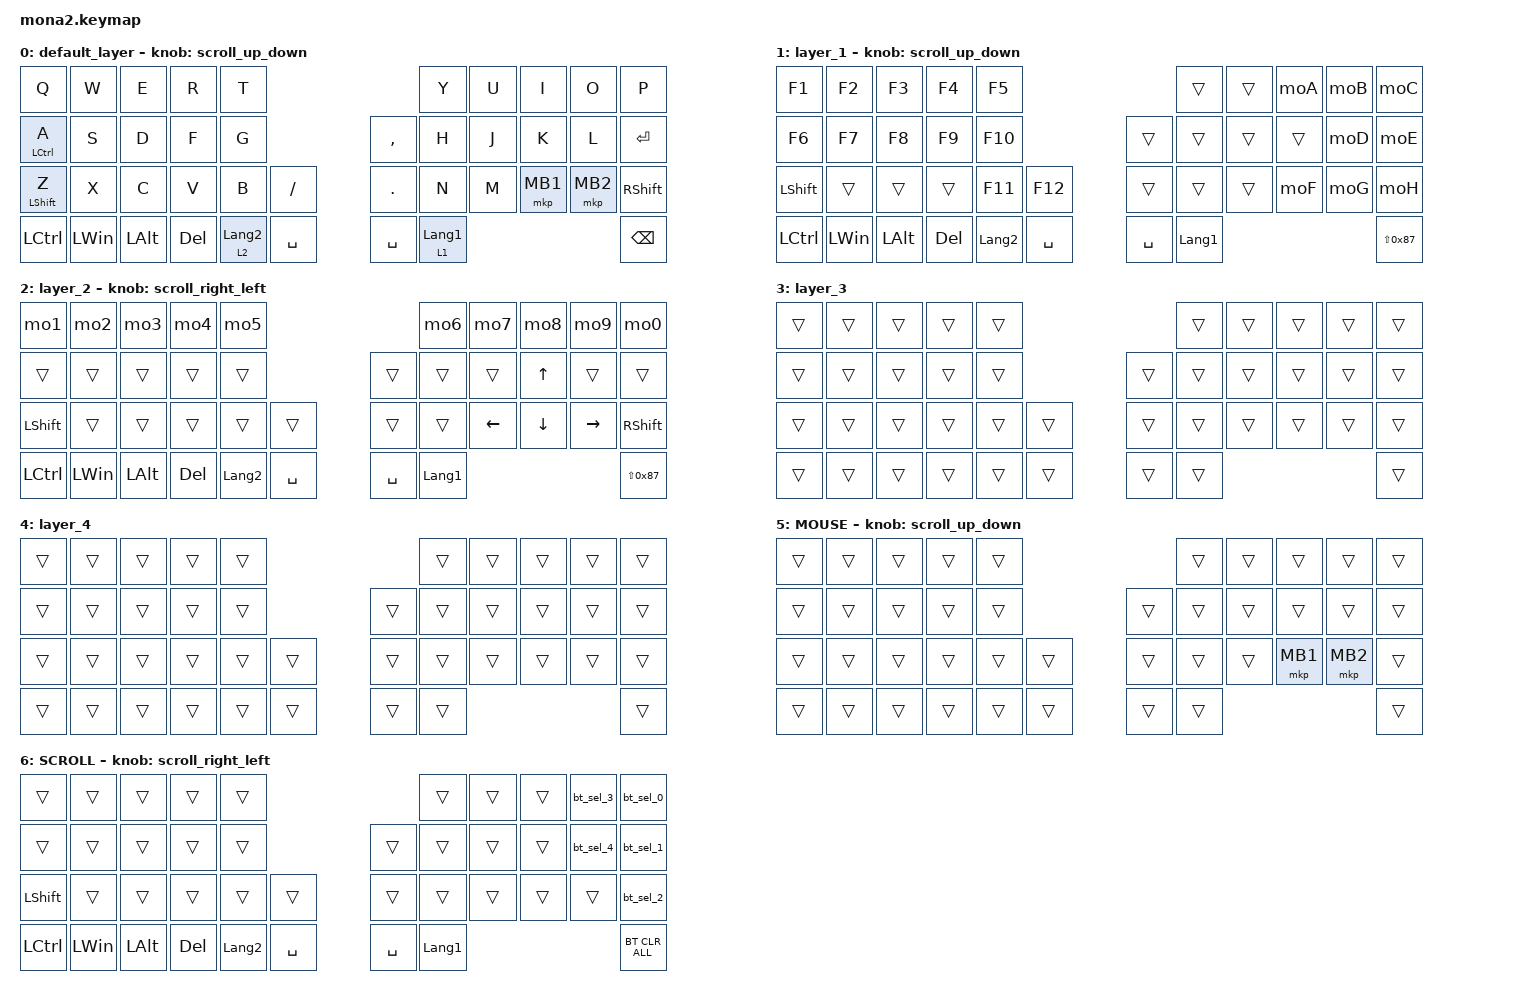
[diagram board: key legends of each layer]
#include <input/processors.dtsi>
#include <dt-bindings/zmk/input_transform.h>
#include <zephyr/dt-bindings/input/input-event-codes.h>
#include <behaviors.dtsi>
#include <dt-bindings/zmk/bt.h>
#include <dt-bindings/zmk/keys.h>
#include <dt-bindings/zmk/pointing.h>

#define ZMK_POINTING_DEFAULT_SCRL_VAL 100
#define MOUSE 5
#define SCROLL 6
#define JP_DQUOTE       AT                // "
#define JP_AMPERSAND    CARET             // &
#define JP_QUOTE        AMPERSAND         // '
#define JP_EQUAL        UNDER             // =
#define JP_CARET        EQUAL             // ^
#define JP_YEN          0x89              // ¥
#define JP_PLUS         COLON             // +
#define JP_TILDE        PLUS              // ~
#define JP_PIPE         LS(0x89)          // |
#define JP_AT           LEFT_BRACKET      // @
#define JP_COLON        SINGLE_QUOTE      // :
#define JP_ASTERISK     DOUBLE_QUOTES     // *
#define JP_BACKQUOTE    LEFT_BRACE        // `
#define JP_UNDERSCORE   LS(0x87)          // _
#define JP_LBRACKET     RIGHT_BRACKET     // [
#define JP_RBRACKET     BACKSLASH         // ]
#define JP_LPAREN       ASTERISK          // (
#define JP_RPAREN       LEFT_PARENTHESIS  // )
#define JP_LBRACE       RIGHT_BRACE       // {
#define JP_RBRACE       PIPE              // }
#define JP_KANA         LANGUAGE_1        // かな
#define JP_EISU         LANGUAGE_2        // 英数
#define JP_HANZEN       GRAVE             // 半角/全角
#define JP_BSLH         INT1              // (backslash)

&mt {
    flavor = "balanced";
    quick-tap-ms = <175>;
};

&lt {
    quick-tap-ms = <300>;
    flavor = "balanced";
};

/ {
    combos {
        compatible = "zmk,combos";

        Escape {
            bindings = <&kp ESCAPE>;
            key-positions = <39 38>;
        };

        tab {
            bindings = <&kp TAB>;
            key-positions = <11 10>;
        };

        // 矢印キー

        Up {
            bindings = <&kp UP_ARROW>;
            key-positions = <18 19>;  // K+L
        };

        Down {
            bindings = <&kp DOWN_ARROW>;
            key-positions = <30 31>;  // MB1+MB2
        };

        Left {
            bindings = <&kp LEFT>;
            key-positions = <29 30>;  // M+MB1
        };

        Right {
            bindings = <&kp RIGHT>;
            key-positions = <31 32>;  // MB2+右Shift
        };

        // 数字キー（左手）

        Num1 {
            bindings = <&mo1>;
            key-positions = <0 1>;  // Q+W
        };

        Num2 {
            bindings = <&mo2>;
            key-positions = <1 2>;  // W+E
        };

        Num3 {
            bindings = <&mo3>;
            key-positions = <2 3>;  // E+R
        };

        Num4 {
            bindings = <&mo4>;
            key-positions = <3 4>;  // R+T
        };

        Num5 {
            bindings = <&mo5>;
            key-positions = <13 14>;  // F+G
        };

        // 数字キー（右手）

        Num6 {
            bindings = <&mo6>;
            key-positions = <5 6>;  // Y+U
        };

        Num7 {
            bindings = <&mo7>;
            key-positions = <6 7>;  // U+I
        };

        Num8 {
            bindings = <&mo8>;
            key-positions = <7 8>;  // I+O
        };

        Num9 {
            bindings = <&mo9>;
            key-positions = <8 9>;  // O+P
        };

        Num0 {
            bindings = <&mo0>;
            key-positions = <19 20>;  // L+Enter
        };

        Layer_6 {
            bindings = <&mo 6>;
            key-positions = <21 22>;  // Z+X
        };

        PrtScr {
            bindings = <&kp PRINTSCREEN>;
            key-positions = <0 9>;
        };

        combo_kakko_kagi {
            timeout-ms = <50>;
            key-positions = <7 18>;
            bindings = <&kakko_square>;
            layers = <0>;
        };

        combo_kakko_round {
            timeout-ms = <50>;
            key-positions = <8 19>;
            bindings = <&kakko_round>;
            layers = <0>;
        };

        combo_kakko_square {
            timeout-ms = <50>;
            key-positions = <16 28>;
            bindings = <&kakko_kagi>;
            layers = <0>;
        };

        combo_kakko_curly {
            timeout-ms = <50>;
            key-positions = <17 29>;
            bindings = <&kakko_curly>;
            layers = <0>;
        };
    };

    macros {
        to_layer_0: to_layer_0 {
            compatible = "zmk,behavior-macro-one-param";
            #binding-cells = <1>;
            bindings = <&to 0 &macro_param_1to1 &kp MACRO_PLACEHOLDER>;
            label = "TO_LAYER_0";
        };

        bt_sel_0: bt_sel_0 {
            compatible = "zmk,behavior-macro";
            #binding-cells = <0>;
            bindings = <&bt BT_SEL 0 &bt BT_DISC 1 &bt BT_DISC 2 &bt BT_DISC 3 &bt BT_DISC 4>;
            label = "BT_SEL_0";
        };

        bt_sel_1: bt_sel_1 {
            compatible = "zmk,behavior-macro";
            #binding-cells = <0>;
            bindings = <&bt BT_SEL 1 &bt BT_DISC 0 &bt BT_DISC 2 &bt BT_DISC 3 &bt BT_DISC 4>;
            label = "BT_SEL_1";
        };

        bt_sel_2: bt_sel_2 {
            compatible = "zmk,behavior-macro";
            #binding-cells = <0>;
            bindings = <&bt BT_SEL 2 &bt BT_DISC 0 &bt BT_DISC 1 &bt BT_DISC 3 &bt BT_DISC 4>;
            label = "BT_SEL_2";
        };

        bt_sel_3: bt_sel_3 {
            compatible = "zmk,behavior-macro";
            #binding-cells = <0>;
            bindings = <&bt BT_SEL 3 &bt BT_DISC 0 &bt BT_DISC 1 &bt BT_DISC 2 &bt BT_DISC 4>;
            label = "BT_SEL_3";
        };

        bt_sel_4: bt_sel_4 {
            compatible = "zmk,behavior-macro";
            #binding-cells = <0>;
            bindings = <&bt BT_SEL 4 &bt BT_DISC 0 &bt BT_DISC 1 &bt BT_DISC 2 &bt BT_DISC 3>;
            label = "BT_SEL_4";
        };

        kakko_kagi: kakko_kagi {
            compatible = "zmk,behavior-macro";
            #binding-cells = <0>;
            bindings = <&kp LS(JP_LBRACKET) &kp LS(JP_RBRACKET) &kp LEFT_ARROW>;
            label = "KAKKO_KAGI";
        };

        kakko_round: kakko_round {
            compatible = "zmk,behavior-macro";
            #binding-cells = <0>;
            bindings = <&kp LS(N8) &kp LS(N9) &kp LEFT_ARROW>;
            label = "KAKKO_ROUND";
        };

        kakko_square: kakko_square {
            compatible = "zmk,behavior-macro";
            #binding-cells = <0>;
            bindings = <&kp JP_LBRACKET &kp JP_RBRACKET &kp LEFT_ARROW>;
            label = "KAKKO_SQUARE";
        };

        kakko_curly: kakko_curly {
            compatible = "zmk,behavior-macro";
            #binding-cells = <0>;
            bindings = <&kp JP_LBRACE &kp JP_RBRACE &kp LEFT_ARROW>;
            label = "KAKKO_CURLY";
        };
    };

    behaviors {
        ctrl_a: ctrl_a {
            compatible = "zmk,behavior-hold-tap";
            label = "CTRL_A";
            #binding-cells = <2>;
            tapping-term-ms = <250>;
            quick-tap-ms = <200>;
            flavor = "tap-preferred";
            bindings = <&kp>, <&kp>;
        };

        lt_to_layer_0: lt_to_layer_0 {
            compatible = "zmk,behavior-hold-tap";
            label = "LAYER_TAP_TO_0";
            bindings = <&mo>, <&to_layer_0>;

            #binding-cells = <2>;
            tapping-term-ms = <200>;
        };

        scroll_up_down: mouse_wheel_up_down {
            compatible = "zmk,behavior-sensor-rotate";
            #sensor-binding-cells = <0>;
            bindings = <&msc SCRL_UP>, <&msc SCRL_DOWN>;

            tap-ms = <20>;
        };

        scroll_right_left: mouse_wheel_right_left {
            compatible = "zmk,behavior-sensor-rotate";
            #sensor-binding-cells = <0>;
            bindings = <&msc SCRL_LEFT>, <&msc SCRL_RIGHT>;

            tap-ms = <20>;
        };

        mo1: mo1 {
            compatible = "zmk,behavior-mod-morph";
            #binding-cells = <0>;
            bindings = <&kp NUMBER_1>, <&kp EXCLAMATION>;

            mods = <(MOD_LSFT|MOD_RSFT)>;
        };

        mo2: mo2 {
            compatible = "zmk,behavior-mod-morph";
            #binding-cells = <0>;
            bindings = <&kp NUMBER_2>, <&kp AT>;

            mods = <(MOD_LSFT|MOD_RSFT)>;
        };

        mo3: mo3 {
            compatible = "zmk,behavior-mod-morph";
            #binding-cells = <0>;
            bindings = <&kp NUMBER_3>, <&kp POUND>;

            mods = <(MOD_LSFT|MOD_RSFT)>;
        };

        mo4: mo4 {
            compatible = "zmk,behavior-mod-morph";
            #binding-cells = <0>;
            bindings = <&kp NUMBER_4>, <&kp DOLLAR>;

            mods = <(MOD_LSFT|MOD_RSFT)>;
        };

        mo5: mo5 {
            compatible = "zmk,behavior-mod-morph";
            #binding-cells = <0>;
            bindings = <&kp NUMBER_5>, <&kp PERCENT>;

            mods = <(MOD_LSFT|MOD_RSFT)>;
        };

        mo6: mo6 {
            compatible = "zmk,behavior-mod-morph";
            #binding-cells = <0>;
            bindings = <&kp NUMBER_6>, <&kp CARET>;

            mods = <(MOD_LSFT|MOD_RSFT)>;
        };

        mo7: mo7 {
            compatible = "zmk,behavior-mod-morph";
            #binding-cells = <0>;
            bindings = <&kp NUMBER_7>, <&kp AMPERSAND>;

            mods = <(MOD_LSFT|MOD_RSFT)>;
        };

        mo8: mo8 {
            compatible = "zmk,behavior-mod-morph";
            #binding-cells = <0>;
            bindings = <&kp NUMBER_8>, <&kp ASTERISK>;

            mods = <(MOD_LSFT|MOD_RSFT)>;
        };

        mo9: mo9 {
            compatible = "zmk,behavior-mod-morph";
            #binding-cells = <0>;
            bindings = <&kp NUMBER_9>, <&kp LEFT_PARENTHESIS>;

            mods = <(MOD_LSFT|MOD_RSFT)>;
        };

        mo0: mo0 {
            compatible = "zmk,behavior-mod-morph";
            #binding-cells = <0>;
            bindings = <&kp NUMBER_0>, <&kp LS(NUMBER_9)>;

            mods = <(MOD_LSFT|MOD_RSFT)>;
        };

        moA: moA {
            compatible = "zmk,behavior-mod-morph";
            #binding-cells = <0>;
            bindings = <&kp MINUS>, <&kp UNDERSCORE>;

            mods = <(MOD_LSFT|MOD_RSFT)>;
        };

        moB: moB {
            compatible = "zmk,behavior-mod-morph";
            #binding-cells = <0>;
            bindings = <&kp EQUAL>, <&kp PLUS>;

            mods = <(MOD_LSFT|MOD_RSFT)>;
        };

        moC: moC {
            compatible = "zmk,behavior-mod-morph";
            #binding-cells = <0>;
            bindings = <&kp INT3>, <&kp JP_PIPE>;

            mods = <(MOD_LSFT|MOD_RSFT)>;
        };

        moD: moD {
            compatible = "zmk,behavior-mod-morph";
            #binding-cells = <0>;
            bindings = <&kp LEFT_BRACKET>, <&kp LEFT_BRACE>;

            mods = <(MOD_LSFT|MOD_RSFT)>;
        };

        moE: moE {
            compatible = "zmk,behavior-mod-morph";
            #binding-cells = <0>;
            bindings = <&kp RIGHT_BRACKET>, <&kp RIGHT_BRACE>;

            mods = <(MOD_LSFT|MOD_RSFT)>;
        };

        moF: moF {
            compatible = "zmk,behavior-mod-morph";
            #binding-cells = <0>;
            bindings = <&kp SEMICOLON>, <&kp JP_PLUS>;

            mods = <(MOD_LSFT|MOD_RSFT)>;
        };

        moG: moG {
            compatible = "zmk,behavior-mod-morph";
            #binding-cells = <0>;
            bindings = <&kp APOSTROPHE>, <&kp DOUBLE_QUOTES>;

            mods = <(MOD_LSFT|MOD_RSFT)>;
        };

        moH: moH {
            compatible = "zmk,behavior-mod-morph";
            #binding-cells = <0>;
            bindings = <&kp BACKSLASH>, <&kp TILDE>;

            mods = <(MOD_LSFT|MOD_RSFT)>;
        };
    };

    keymap {
        compatible = "zmk,keymap";

        default_layer {
            // -----------------------------------------------------------------------------------
            // |  Q  |  W  |  E  |  R  |  T  |                      |  Y  |  U  |  I  |  O  |  P  |
            // |A/CTL|  S  |  D  |  F  |  G  |                | ,/< |  H  |  J  |  K  |  L  | ENT |
            // |Z/SFT|  X  |  C  |  V  |  B  | //? |          | ./> |  N  |  M  | MB1 | MB2 | SFT |
            // | CTRL| WIN | ALT | DEL |英数L2|SPACE|          |SPACE|かなL1|                | BKS |

            bindings = <
&kp Q             &kp W         &kp E         &kp R       &kp T                                   &kp Y          &kp U  &kp I     &kp O     &kp P
&ctrl_a LCTRL A   &kp S         &kp D         &kp F       &kp G                       &kp COMMA   &kp H          &kp J  &kp K     &kp L     &kp ENTER
&mt LEFT_SHIFT Z  &kp X         &kp C         &kp V       &kp B          &kp SLASH    &kp PERIOD  &kp N          &kp M  &mkp MB1  &mkp MB2  &kp RIGHT_SHIFT
&kp LCTRL         &kp LEFT_WIN  &kp LEFT_ALT  &kp DELETE  &lt 2 JP_EISU  &kp SPACE    &kp SPACE   &lt 1 JP_KANA                             &kp BACKSPACE
            >;

            sensor-bindings = <&scroll_up_down>;
        };

        layer_1 {
            // -----------------------------------------------------------------------------------
            // | F1  | F2  | F3  | F4  | F5  |                      |trans|trans| -/_ | =/+ |¥/| |
            // | F6  | F7  | F8  | F9  | F10 |                |trans|trans|trans|trans| @/` | [/{ |
            // |SHIFT|trans|trans|trans| F11 | F12 |          |trans|trans|trans| ;/+ | :/' | ]/} |
            // | CTRL| WIN | ALT | DEL | 英数 |SPACE|          |SPACE| かな |                |  _  |

            bindings = <
&kp F1          &kp F2        &kp F3        &kp F4      &kp F5                               &trans       &trans  &moA    &moB  &moC
&kp F6          &kp F7        &kp F8        &kp F9      &kp F10                   &trans     &trans       &trans  &trans  &moD  &moE
&kp LEFT_SHIFT  &trans        &trans        &trans      &kp F11      &kp F12      &trans     &trans       &trans  &moF    &moG  &moH
&kp LCTRL       &kp LEFT_WIN  &kp LEFT_ALT  &kp DELETE  &kp JP_EISU  &kp SPACE    &kp SPACE  &kp JP_KANA                        &kp JP_UNDERSCORE
            >;

            sensor-bindings = <&scroll_up_down>;
        };

        layer_2 {
            // -----------------------------------------------------------------------------------
            // | 1/! | 2/" | 3/# | 4/$ | 5/% |                      | 6/& | 7/' | 8/( | 9/) | 0/) |
            // |trans|trans|trans|trans|trans|                |trans|trans|trans|  ↑  |trans|trans|
            // |SHIFT|trans|trans|trans|trans|trans|          |trans|trans|  ←  |  ↓  |  →  |SHIFT|
            // | CTRL| WIN | ALT | DEL | 英数 |SPACE|          |SPACE| かな |                |  _  |

            bindings = <
&mo1            &mo2          &mo3          &mo4        &mo5                                 &mo6         &mo7            &mo8            &mo9             &mo0
&trans          &trans        &trans        &trans      &trans                    &trans     &trans       &trans          &kp UP_ARROW    &trans           &trans
&kp LEFT_SHIFT  &trans        &trans        &trans      &trans       &trans       &trans     &trans       &kp LEFT_ARROW  &kp DOWN_ARROW  &kp RIGHT_ARROW  &kp RIGHT_SHIFT
&kp LCTRL       &kp LEFT_WIN  &kp LEFT_ALT  &kp DELETE  &kp JP_EISU  &kp SPACE    &kp SPACE  &kp JP_KANA                                                   &kp JP_UNDERSCORE
            >;

            sensor-bindings = <&scroll_right_left>;
        };

        layer_3 {
            // -----------------------------------------------------------------------------------
            // |trans|trans|trans|trans|trans|                      |trans|trans|trans|trans|trans|
            // |trans|trans|trans|trans|trans|                |trans|trans|trans|trans|trans|trans|
            // |trans|trans|trans|trans|trans|trans|          |trans|trans|trans|trans|trans|trans|
            // |trans|trans|trans|trans|trans|trans|          |trans|trans|                |trans|

            bindings = <
&trans  &trans  &trans  &trans  &trans                    &trans  &trans  &trans  &trans  &trans
&trans  &trans  &trans  &trans  &trans            &trans  &trans  &trans  &trans  &trans  &trans
&trans  &trans  &trans  &trans  &trans  &trans    &trans  &trans  &trans  &trans  &trans  &trans
&trans  &trans  &trans  &trans  &trans  &trans    &trans  &trans                          &trans
            >;
        };

        layer_4 {
            // -----------------------------------------------------------------------------------
            // |trans|trans|trans|trans|trans|                      |trans|trans|trans|trans|trans|
            // |trans|trans|trans|trans|trans|                |trans|trans|trans|trans|trans|trans|
            // |trans|trans|trans|trans|trans|trans|          |trans|trans|trans|trans|trans|trans|
            // |trans|trans|trans|trans|trans|trans|          |trans|trans|                |trans|

            bindings = <
&trans  &trans  &trans  &trans  &trans                    &trans  &trans  &trans  &trans  &trans
&trans  &trans  &trans  &trans  &trans            &trans  &trans  &trans  &trans  &trans  &trans
&trans  &trans  &trans  &trans  &trans  &trans    &trans  &trans  &trans  &trans  &trans  &trans
&trans  &trans  &trans  &trans  &trans  &trans    &trans  &trans                          &trans
            >;
        };

        MOUSE {
            // -----------------------------------------------------------------------------------
            // |trans|trans|trans|trans|trans|                      |trans|trans|trans|trans|trans|
            // |trans|trans|trans|trans|trans|                |trans|trans|trans|trans|trans|trans|
            // |trans|trans|trans|trans|trans|trans|          |trans|trans|trans| MB1 | MB2 |trans|
            // |trans|trans|trans|trans|trans|trans|          |trans|trans|                |trans|

            bindings = <
&trans  &trans  &trans  &trans  &trans                    &trans  &trans  &trans    &trans    &trans
&trans  &trans  &trans  &trans  &trans            &trans  &trans  &trans  &trans    &trans    &trans
&trans  &trans  &trans  &trans  &trans  &trans    &trans  &trans  &trans  &mkp MB1  &mkp MB2  &trans
&trans  &trans  &trans  &trans  &trans  &trans    &trans  &trans                              &trans
            >;

            sensor-bindings = <&scroll_up_down>;
        };

        SCROLL {
            // -----------------------------------------------------------------------------------
            // |trans|RESET|trans|trans|trans|                      |trans|trans|trans| BT3 | BT0 |
            // |trans|trans|trans|trans|trans|                |trans|trans|trans|trans| BT4 | BT1 |
            // |SHIFT|trans|trans|trans|trans|trans|          |trans|trans|trans|trans|trans| BT2 |
            // | CTRL| WIN | ALT | DEL | 英数 |SPACE|          |SPACE| かな |                |BTCLR|

            bindings = <
&trans          &trans        &trans        &trans      &trans                               &trans       &trans  &trans  &bt_sel_3  &bt_sel_0
&trans          &trans        &trans        &trans      &trans                    &trans     &trans       &trans  &trans  &bt_sel_4  &bt_sel_1
&kp LEFT_SHIFT  &trans        &trans        &trans      &trans       &trans       &trans     &trans       &trans  &trans  &trans     &bt_sel_2
&kp LCTRL       &kp LEFT_WIN  &kp LEFT_ALT  &kp DELETE  &kp JP_EISU  &kp SPACE    &kp SPACE  &kp JP_KANA                             &bt BT_CLR_ALL
            >;

            sensor-bindings = <&scroll_right_left>;
        };
    };
};
